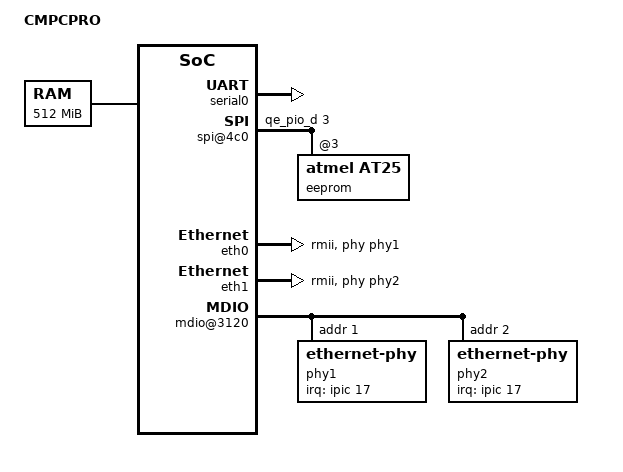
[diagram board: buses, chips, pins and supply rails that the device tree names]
// SPDX-License-Identifier: GPL-2.0+
/*
 * CMPC885 Device Tree Source
 *
 * Copyright 2020 CS GROUP France
 *
 */

/dts-v1/;

#include <dt-bindings/clk/mpc83xx-clk.h>

/ {
	model = "CMPCPRO";
	compatible = "fsl, cmpc85xx", "fsl,mod85xx", "CMPCPRO", "MPC8321E", "fsl,cmpcpro";
	#address-cells = <1>;
	#size-cells = <1>;

	chosen {
		stdout-path = &serial0;
	};
	WDT: watchdog@0 {
		device_type = "watchdog";
		compatible = "fsl,pq1-wdt";
	};

	aliases {
		ethernet0 = &eth0;
		etehrnet1 = &eth1;
		serial0 = &serial0;
	};

	cpus {
		#address-cells = <1>;
		#size-cells = <0>;
		PowerPC,8321@0 {
			device_type = "cpu";
			reg = <0x0>;
			d-cache-line-size = <0x20>;	// 32 bytes
			i-cache-line-size = <0x20>;	// 32 bytes
			d-cache-size = <16384>;	// L1, 16K
			i-cache-size = <16384>;	// L1, 16K
			timebase-frequency = <0>;
			bus-frequency = <0>;
			clock-frequency = <0>;
		};
	};

	memory {
		device_type = "memory";
		reg = <0x00000000 0x20000000>;
	};

	soc8321@b0000000 {
		#address-cells = <1>;
		#size-cells = <1>;
		device_type = "soc";
		compatible = "simple-bus";
		ranges = <0x0 0xb0000000 0x00100000>;
		reg = <0xb0000000 0x00000200>;
		bus-frequency = <0>;
		pmc: power@b00 {
			compatible = "fsl,mpc8323-pmc", "fsl,mpc8349-pmc";
			reg = <0xb00 0x100 0xa00 0x100>;
			interrupts = <80 0x8>;
			interrupt-parent = <&ipic>;
		};
		serial0: serial@4500 {
			clocks = <&socclocks MPC83XX_CLK_CSB>;
			cell-index = <0>;
			device_type = "serial";
			compatible = "fsl,ns16550", "ns16550";
			reg = <0x4500 0x100>;
			clock-frequency = <0>;
			interrupts = <9 0x8>;
			interrupt-parent = <&ipic>;
		};
		ipic:pic@700 {
			interrupt-controller;
			#address-cells = <0>;
			#interrupt-cells = <2>;
			reg = <0x700 0x100>;
			device_type = "ipic";
		};
		par_io@1400 {
			#address-cells = <1>;
			#size-cells = <1>;
			reg = <0x1400 0x100>;
			ranges;
			compatible = "fsl,mpc8323-qe-pario","simple-bus";
			device_type = "par_io";
			num-ports = <7>;
			qe_pio_a: gpio-controller@1400 {
				#gpio-cells = <2>;
				compatible = "fsl,mpc8323-qe-pario-bank","fsl,mpc8308-gpio";
				reg = <0x1400 0x18>;
				gpio-controller;
			};
			qe_pio_b: gpio-controller@1418 {
				#gpio-cells = <2>;
				compatible = "fsl,mpc8323-qe-pario-bank","fsl,mpc8308-gpio";
				reg = <0x1418 0x18>;
				gpio-controller;
			};
			qe_pio_c: gpio-controller@1430 {
				#gpio-cells = <2>;
				compatible = "fsl,mpc8323-qe-pario-bank","fsl,mpc8308-gpio";
				reg = <0x1430 0x18>;
				gpio-controller;
			};
			qe_pio_d: gpio-controller@1448 {
				#gpio-cells = <2>;
				compatible = "fsl,mpc8323-qe-pario-bank","fsl,mpc8308-gpio";
				reg = <0x1448 0x18>;
				gpio-controller;
			};
		};
	};
	socclocks: clocks {
		bootph-all;
		compatible = "fsl,mpc832x-clk";
		#clock-cells = <1>;
	};
	qe@b0100000 {
		#address-cells = <1>;
		#size-cells = <1>;
		device_type = "qe";
		compatible = "fsl,qe","simple-bus";
		ranges = <0x0 0xb0100000 0x00100000>;
		reg = <0xb0100000 0x480>;
		brg-frequency = <0>;
		bus-frequency = <198000000>;
		fsl,qe-num-riscs = <1>;
		fsl,qe-num-snums = <28>;
		spi@4c0 {
			clocks = <&socclocks MPC83XX_CLK_CSB>;
			#address-cells = <1>;
			#size-cells = <0>;
			cell-index = <0>;
			compatible = "fsl,mpc832x-spi";
			reg = <0x4c0 0x40>;
			mode = "cpu";
			gpios = <&qe_pio_d 3 1>;
			clock-frequency = <0>;
			eeprom@3 {
				compatible = "atmel,at25", "cs,eeprom";
				cell-index = <1>;
			};
		};
		eth0: ucc@3000 {
			device_type = "network";
			compatible = "ucc_geth";
			cell-index = <2>;
			reg = <0x3000 0x200>;
			rx-clock-name = "clk17";
			tx-clock-name = "clk17";
			phy-handle = <&phy1>;
			phy-connection-type = "rmii";
		};
		eth1: ucc@2200 {
			device_type = "network";
			compatible = "ucc_geth";
			cell-index = <3>;
			reg = <0x2200 0x200>;
			rx-clock-name = "clk12";
			tx-clock-name = "clk12";
			phy-handle = <&phy2>;
			phy-connection-type = "rmii";
		};
		mdio@3120 {
			#address-cells = <1>;
			#size-cells = <0>;
			reg = <0x3120 0x18>;
			compatible = "fsl,ucc-mdio";
			phy1:ethernet-phy@1 {
				interrupt-parent = <&ipic>;
				reg = <0x1>;
				interrupts = <17 8>;
				device_type = "ethernet-phy";
			};
			phy2:ethernet-phy@2 {
				interrupt-parent = <&ipic>;
				reg = <0x2>;
				interrupts = <17 8>;
				device_type = "ethernet-phy";
			};
		};
	};
};
